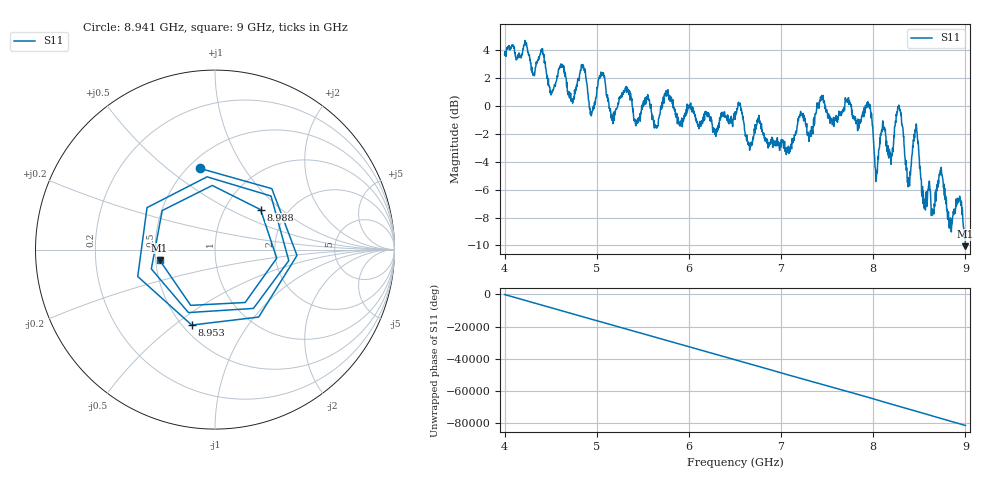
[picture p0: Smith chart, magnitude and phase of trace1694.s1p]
! Created with skrf 1.8.0 (http://scikit-rf.org).
# Hz S RI R 50.0
!freq ReS11 ImS11
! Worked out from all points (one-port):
!   1601 points, 4 GHz to 9 GHz, reference 50 ohm
!   lowest |S11| = -10.1 dB at 9 GHz (marker M1), VSWR 1.92, Z = 26.2 - j3.38 ohm
!   |S11| at or under -10 dB: 8.999767 GHz to end of sweep
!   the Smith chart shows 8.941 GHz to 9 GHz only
!   S11 on the Smith chart (normalised r, x): 8.941 GHz: 0.57, +0.66; 8.953 GHz: 0.56, -0.58; 8.988 GHz: 1.46, +0.73; 9 GHz: 0.52, -0.07
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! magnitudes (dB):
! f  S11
! 4 GHz  3.7
! 4.403 GHz  3.9
! 4.509 GHz  0.9
! 4.625 GHz  3.0
! 4.731 GHz  0.4
! 4.853 GHz  3.0
! 4.944 GHz  -0.6
! 5.05 GHz  2.2
! 5.162 GHz  -1.0
! 5.25 GHz  0.6
! 5.875 GHz  -1.3
! 6.5 GHz  -1.0
! 7.125 GHz  -2.6
! 7.431 GHz  0.5
! 7.75 GHz  0.2
! 7.959 GHz  -0.1
! 8.034 GHz  -5.2
! 8.194 GHz  -4.2
! 8.281 GHz  0.0
! 8.375 GHz  -5.2
! 8.462 GHz  -1.8
! 8.562 GHz  -6.8
! 8.731 GHz  -4.6
! 8.831 GHz  -8.3
! 8.941 GHz  -6.7
! 8.953 GHz  -7.1
! 8.988 GHz  -9.4
! 9 GHz  -10.1
